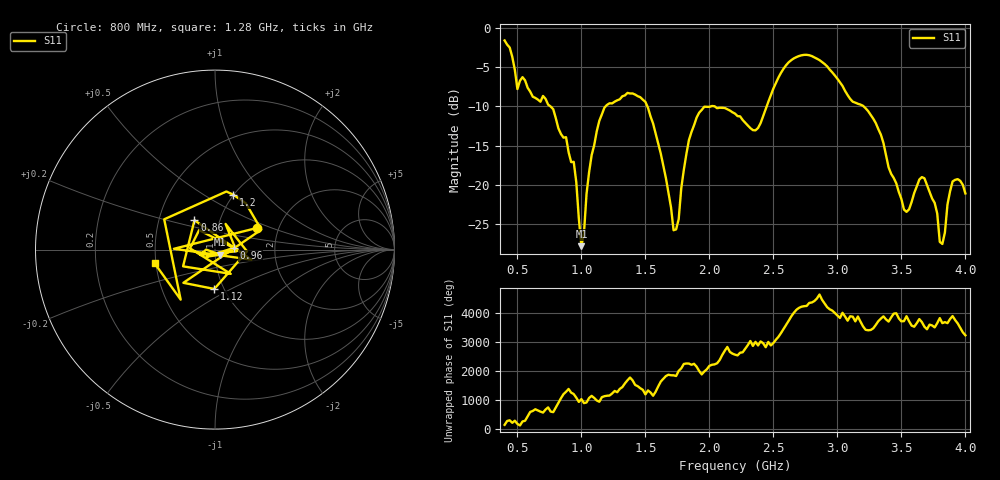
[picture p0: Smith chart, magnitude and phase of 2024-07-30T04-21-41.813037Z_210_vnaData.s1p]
!Created with skrf (http://scikit-rf.org).
# Hz S RI R 50.0
!freq ReS11 ImS11
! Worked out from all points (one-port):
!   181 points, 400 MHz to 4 GHz, reference 50 ohm
!   lowest |S11| = -27.8 dB at 1 GHz (marker M1), VSWR 1.08, Z = 52.9 - j3 ohm
!   |S11| at or under -10 dB: 756.2 MHz to 1.19 GHz (434.1 MHz wide, 44.6 % of centre); 1.515 GHz to 2.016 GHz (501.3 MHz wide, 28.4 % of centre); 3.203 GHz to end of sweep (the widest 3 of 4)
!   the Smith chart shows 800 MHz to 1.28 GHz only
!   S11 on the Smith chart (normalised r, x): 800 MHz: 1.55, +0.40; 860 MHz: 0.76, +0.26; 960 MHz: 1.23, +0.02; 1.12 GHz: 0.90, -0.42; 1.2 GHz: 1.00, +0.68; 1.28 GHz: 0.49, -0.09
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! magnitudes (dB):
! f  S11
! 400 MHz  -1.6
! 500 MHz  -7.8
! 800 MHz  -11.5
! 860 MHz  -14.0
! 960 MHz  -19.7
! 1 GHz  -27.8
! 1.06 GHz  -18.4
! 1.12 GHz  -13.2
! 1.2 GHz  -9.8
! 1.28 GHz  -9.3
! 1.3 GHz  -9.1
! 1.5 GHz  -9.5
! 1.62 GHz  -16.0
! 1.72 GHz  -25.8
! 1.76 GHz  -24.4
! 1.84 GHz  -14.3
! 1.92 GHz  -10.8
! 2.2 GHz  -10.9
! 2.38 GHz  -12.8
! 2.66 GHz  -3.9
! 2.86 GHz  -4.1
! 3.1 GHz  -9.1
! 3.3 GHz  -12.2
! 3.56 GHz  -23.1
! 3.68 GHz  -19.2
! 3.82 GHz  -27.5
! 3.9 GHz  -19.6
! 4 GHz  -21.1
